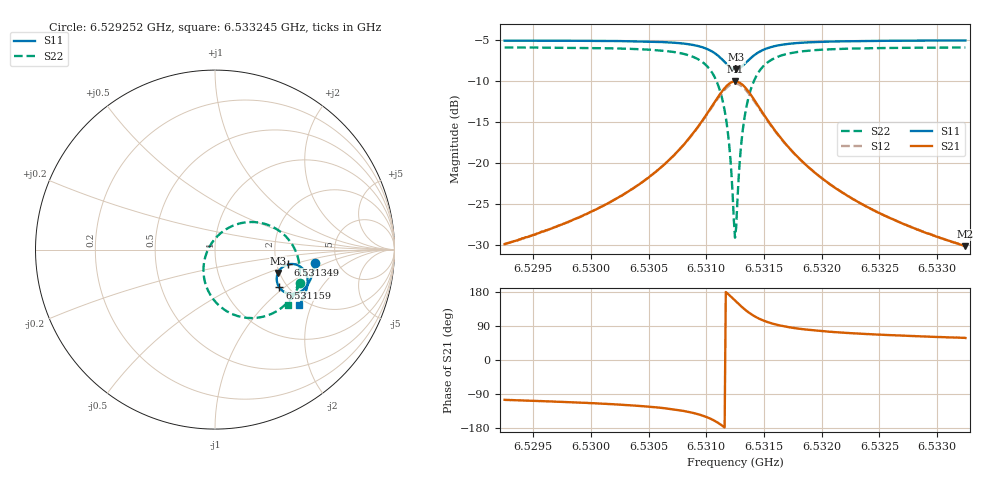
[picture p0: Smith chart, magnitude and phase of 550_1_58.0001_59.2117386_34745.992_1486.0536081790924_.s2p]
#  HZ  S  RI  R  50.00
! Rohde & Schwarz Vector Network Analyzer
! Rohde-Schwarz,ZNB20-2Port,1311601062101988,3.16
! Created: UTC 3/21/2024, 1:14:57 AM
! freq[Hz]  re:S11  im:S11  re:S21  im:S21  re:S12  im:S12  re:S22  im:S22
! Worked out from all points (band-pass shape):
!   401 points, 6.529252 GHz to 6.533245 GHz, reference 50 ohm
!   highest |S21| = -10.00 dB at 6.531249 GHz (marker M1); lowest = -30.1 dB at 6.533245 GHz (marker M2)
!   |S21| within 3 dB of the highest: 6.531051 GHz to 6.53145 GHz (399 kHz wide, 0.00611 % of centre)
!   lowest |S11| = -8.5 dB at 6.531259 GHz (marker M3), VSWR 2.20, Z = 98.1 - j29.6 ohm
!   |S11| at or under -10 dB: nowhere
!   |S22| runs from -29.1 to -5.9 dB; largest |S21 - S12| = 0.013
!   S11 on the Smith chart (normalised r, x): 6.529252 GHz: 3.37, -0.75; 6.531159 GHz: 1.81, -0.93; 6.531349 GHz: 2.30, -0.46; 6.533245 GHz: 1.82, -1.64
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6.5292523e9  0.5554 -0.0768  -0.00829 -0.0309  -0.00909 -0.0308  0.475 -0.185
6.5299212e9  0.5437 -0.1327  -0.0184 -0.0438  -0.0193 -0.0434  0.4423 -0.2466
6.5302806e9  0.5319 -0.1661  -0.0305 -0.0565  -0.032 -0.0559  0.4101 -0.2885
6.53059e9  0.5135 -0.1997  -0.0537 -0.0747  -0.0558 -0.0731  0.3576 -0.3339
6.5308196e9  0.4853 -0.2289  -0.0949 -0.0938  -0.0976 -0.0904  0.2748 -0.372
6.5309893e9  0.44 -0.2471  -0.165 -0.0989  -0.1671 -0.0922  0.1462 -0.3755
6.5310892e9  0.3942 -0.2401  -0.236 -0.0704  -0.2345 -0.0606  0.0276 -0.3156
6.5311591e9  0.3587 -0.2109  -0.2875 -0.00919  -0.2809 0.000825  -0.0486 -0.2042
6.531199e9  0.346 -0.1816  -0.3028 0.0457  -0.2932 0.0534  -0.0644 -0.111
6.5312289e9  0.3442 -0.1555  -0.3006 0.0923  -0.2894 0.0975  -0.0526 -0.0352
6.5312389e9  0.3455 -0.1468  -0.2966 0.108  -0.2852 0.112  -0.0436 -0.0105
6.5312489e9  0.3477 -0.1382  -0.2913 0.1231  -0.2796 0.1262  -0.0322 0.0136
6.5312589e9  0.3509 -0.1297  -0.2844 0.1377  -0.2729 0.1398  -0.0185 0.0361
6.5313088e9  0.378 -0.0962  -0.2325 0.1953  -0.2229 0.1932  0.0758 0.1217
6.5313487e9  0.4063 -0.0827  -0.1815 0.2184  -0.1746 0.2146  0.1635 0.1508
6.5314186e9  0.451 -0.0832  -0.1035 0.2186  -0.1002 0.2152  0.2937 0.138
6.5315184e9  0.4897 -0.1068  -0.0374 0.1851  -0.0358 0.1833  0.4006 0.067
6.5316682e9  0.5113 -0.1441  0.00194 0.1362  0.00311 0.1354  0.4581 -0.0314
6.5319178e9  0.5159 -0.1882  0.018 0.0887  0.0189 0.0882  0.4714 -0.1306
6.5322472e9  0.5082 -0.2274  0.0202 0.0584  0.0211 0.0581  0.4592 -0.2017
6.5325866e9  0.4967 -0.2584  0.019 0.0424  0.0199 0.0421  0.4418 -0.247
6.5332455e9  0.4706 -0.3081  0.0164 0.0264  0.0169 0.0262  0.407 -0.3061
